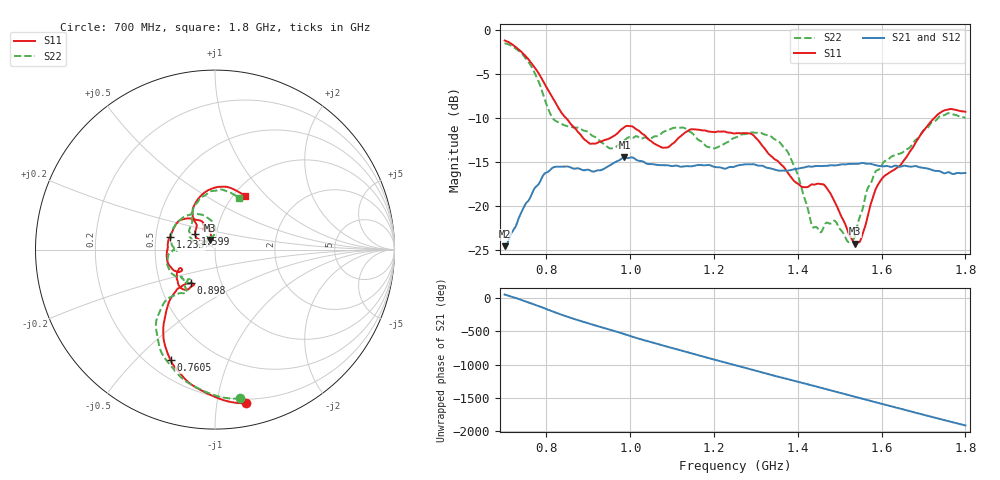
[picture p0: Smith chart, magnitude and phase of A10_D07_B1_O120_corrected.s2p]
! Created with skrf 1.9.0 (http://scikit-rf.org).
# Hz S RI R 50.0
!freq ReS11 ImS11 ReS21 ImS21 ReS12 ImS12 ReS22 ImS22
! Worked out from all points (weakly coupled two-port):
!   1601 points, 700 MHz to 1.8 GHz, reference 50 ohm
!   highest |S21| = -14.48 dB at 986 MHz (marker M1); lowest = -24.6 dB at 700 MHz (marker M2)
!   lowest |S11| = -24.3 dB at 1.537 GHz (marker M3), VSWR 1.13, Z = 47 + j5.12 ohm
!   |S11| at or under -10 dB: 846.7 MHz to 1.725 GHz (878.7 MHz wide, 68.3 % of centre)
!   |S22| runs from -24.1 to -1.5 dB; largest |S21 - S12| = 0.0037
!   S11 on the Smith chart (normalised r, x): 700 MHz: 0.17, -1.21; 760.5 MHz: 0.29, -0.64; 898 MHz: 0.71, -0.28; 1.233 GHz: 0.59, +0.09; 1.599 GHz: 0.79, +0.14; 1.8 GHz: 1.12, +0.76
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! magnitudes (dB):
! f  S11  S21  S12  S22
! 700 MHz  -1.2  -24.6  -24.4  -1.5
! 760.5 MHz  -3.6  -19.1  -19.0  -3.9
! 815.5 MHz  -7.8  -15.6  -15.7  -10.1
! 883.6 MHz  -12.0  -15.9  -15.8  -11.3
! 898 MHz  -12.7  -15.9  -16.0  -11.6
! 951.6 MHz  -12.3  -15.4  -15.4  -13.5
! 986 MHz  -11.0  -14.5  -14.6  -12.6
! 1.067 GHz  -13.2  -15.4  -15.3  -12.0
! 1.124 GHz  -11.9  -15.5  -15.5  -11.1
! 1.233 GHz  -11.7  -15.7  -15.6  -12.7
! 1.25 GHz  -11.8  -15.5  -15.5  -12.2
! 1.292 GHz  -11.9  -15.3  -15.3  -11.6
! 1.358 GHz  -15.2  -16.0  -16.0  -12.8
! 1.396 GHz  -17.4  -15.8  -15.8  -16.0
! 1.434 GHz  -17.6  -15.5  -15.5  -22.2
! 1.469 GHz  -18.0  -15.4  -15.4  -21.9
! 1.537 GHz  -24.3  -15.2  -15.2  -23.4
! 1.566 GHz  -21.3  -15.2  -15.2  -18.1
! 1.599 GHz  -17.0  -15.5  -15.5  -15.5
! 1.617 GHz  -16.3  -15.5  -15.5  -14.7
! 1.735 GHz  -9.6  -16.0  -16.1  -10.0
! 1.8 GHz  -9.3  -16.3  -16.3  -10.0
